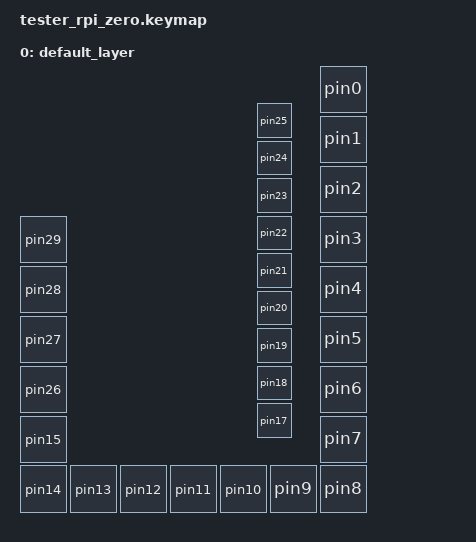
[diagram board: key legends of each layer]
#include <behaviors.dtsi>
#include <dt-bindings/zmk/keys.h>

#define PIN_MACRO(name, pin) \
/ { \
    macros { \
        name: name { \
            compatible = "zmk,behavior-macro"; \
            wait-ms = <5>; \
            tap-ms = <5>; \
            #binding-cells = <0>; \
            bindings = <&kp P &kp I &kp N &kp SPACE>, pin, <&kp ENTER>; \
        }; \
    }; \
};

// GP0 to GP8 down one edge:
PIN_MACRO(pin0, <&kp N0>)
PIN_MACRO(pin1, <&kp N1>)
PIN_MACRO(pin2, <&kp N2>)
PIN_MACRO(pin3, <&kp N3>)
PIN_MACRO(pin4, <&kp N4>)
PIN_MACRO(pin5, <&kp N5>)
PIN_MACRO(pin6, <&kp N6>)
PIN_MACRO(pin7, <&kp N7>)
PIN_MACRO(pin8, <&kp N8>)

// GP9 to GP13 run along the bottom edge opposite the USB port:
PIN_MACRO(pin9, <&kp N9>)
PIN_MACRO(pin10, <&kp N1 &kp N0>)
PIN_MACRO(pin11, <&kp N1 &kp N1>)
PIN_MACRO(pin12, <&kp N1 &kp N2>)
PIN_MACRO(pin13, <&kp N1 &kp N3>)

// GP14 and GP15 (and GP26 to GP29) continue up other edge:
PIN_MACRO(pin14, <&kp N1 &kp N4>)
PIN_MACRO(pin15, <&kp N1 &kp N5>)

// GP16 is used for RGB LED and not exposed.

// GP17 to GP25 are pads on the back:
PIN_MACRO(pin17, <&kp N1 &kp N7>)
PIN_MACRO(pin18, <&kp N1 &kp N8>)
PIN_MACRO(pin19, <&kp N1 &kp N9>)
PIN_MACRO(pin20, <&kp N2 &kp N0>)
PIN_MACRO(pin21, <&kp N2 &kp N1>)
PIN_MACRO(pin22, <&kp N2 &kp N2>)
PIN_MACRO(pin23, <&kp N2 &kp N3>)
PIN_MACRO(pin24, <&kp N2 &kp N4>)
PIN_MACRO(pin25, <&kp N2 &kp N5>)

// GP26 to GP29 are on the outer pins leading up to 3V3, GND and 5V:
PIN_MACRO(pin26, <&kp N2 &kp N6>)
PIN_MACRO(pin27, <&kp N2 &kp N7>)
PIN_MACRO(pin28, <&kp N2 &kp N8>)
PIN_MACRO(pin29, <&kp N2 &kp N9>)

/ {
    keymap {
        compatible = "zmk,keymap";

        default_layer {
            bindings = <&pin0
                        &pin1
                        &pin2
                        &pin3
                        &pin4
                        &pin5
                        &pin6
                        &pin7
                        &pin8
                        &pin9
                        &pin10
                        &pin11
                        &pin12
                        &pin13
                        &pin14
                        &pin15
                        // &pin16 not exposed
                        &pin17
                        &pin18
                        &pin19
                        &pin20
                        &pin21
                        &pin22
                        &pin23
                        &pin24
                        &pin25
                        &pin26
                        &pin27
                        &pin28
                        &pin29>;
        };
    };
};
